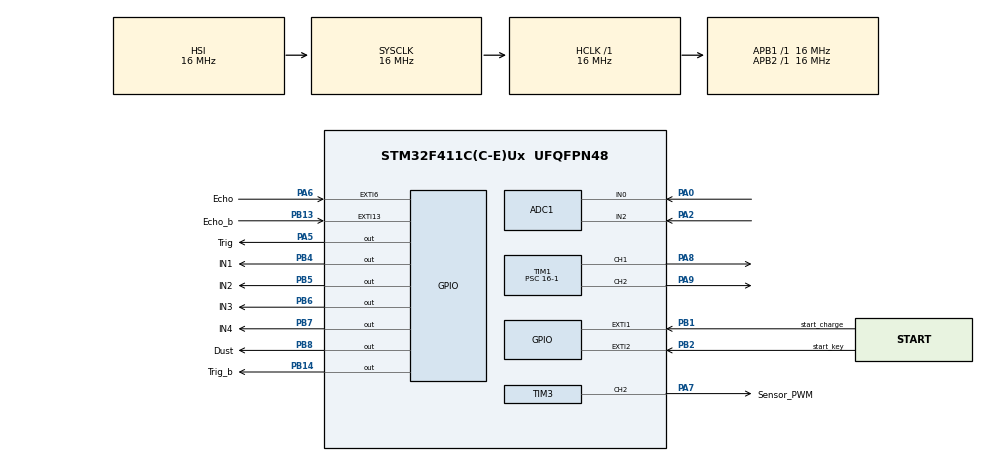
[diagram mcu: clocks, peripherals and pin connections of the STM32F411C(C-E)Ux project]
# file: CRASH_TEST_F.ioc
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ADC1.Channel-1\#ChannelRegularConversion=ADC_CHANNEL_0
ADC1.NbrOfConversionFlag=1
ADC1.Rank-1\#ChannelRegularConversion=1
ADC1.SamplingTime-1\#ChannelRegularConversion=ADC_SAMPLETIME_144CYCLES
ADC1.master=1
Mcu.Family=STM32F4
Mcu.Name=STM32F411C(C-E)Ux
Mcu.Package=UFQFPN48
NVIC.ADC_IRQn=true\:1\:0\:true\:false\:true\:true\:true\:true
NVIC.EXTI15_10_IRQn=true\:0\:0\:false\:false\:true\:true\:true\:true
NVIC.EXTI1_IRQn=true\:0\:0\:false\:false\:true\:true\:true\:true
NVIC.EXTI2_IRQn=true\:0\:0\:false\:false\:true\:true\:true\:true
NVIC.EXTI9_5_IRQn=true\:0\:0\:false\:false\:true\:true\:true\:true
NVIC.PriorityGroup=NVIC_PRIORITYGROUP_4
NVIC.TIM3_IRQn=true\:0\:0\:false\:false\:true\:true\:true\:true
PA0-WKUP.Signal=ADCx_IN0
PA13.Mode=Serial_Wire
PA13.Signal=SYS_JTMS-SWDIO
PA14.Mode=Serial_Wire
PA14.Signal=SYS_JTCK-SWCLK
PA2.Signal=ADCx_IN2
PA5.GPIO_Label=Trig
PA5.Signal=GPIO_Output
PA6.GPIO_Label=Echo
PA6.GPIO_ModeDefaultEXTI=GPIO_MODE_IT_RISING_FALLING
PA6.Signal=GPXTI6
PA7.GPIO_Label=Sensor_PWM
PA7.Signal=S_TIM3_CH2
PA8.Signal=S_TIM1_CH1
PA9.Signal=S_TIM1_CH2
PB1.GPIO_Label=start_charge
PB1.GPIO_ModeDefaultEXTI=GPIO_MODE_IT_FALLING
PB1.GPIO_PuPd=GPIO_NOPULL
PB1.Signal=GPXTI1
PB13.GPIO_Label=Echo_b
PB13.GPIO_ModeDefaultEXTI=GPIO_MODE_IT_RISING_FALLING
PB13.Signal=GPXTI13
PB14.GPIO_Label=Trig_b
PB14.Signal=GPIO_Output
PB2.GPIO_Label=start_key
PB2.GPIO_ModeDefaultEXTI=GPIO_MODE_IT_FALLING
PB2.GPIO_PuPd=GPIO_NOPULL
PB2.Signal=GPXTI2
PB4.GPIO_Label=IN1
PB4.GPIO_PuPd=GPIO_PULLUP
PB4.Signal=GPIO_Output
PB5.GPIO_Label=IN2
PB5.GPIO_PuPd=GPIO_PULLUP
PB5.Signal=GPIO_Output
PB6.GPIO_Label=IN3
PB6.GPIO_PuPd=GPIO_PULLUP
PB6.Signal=GPIO_Output
PB7.GPIO_Label=IN4
PB7.GPIO_PuPd=GPIO_PULLUP
PB7.Signal=GPIO_Output
PB8.GPIO_Label=Dust
PB8.Signal=GPIO_Output
PH0\ -\ OSC_IN.Mode=HSE-External-Oscillator
PH0\ -\ OSC_IN.Signal=RCC_OSC_IN
PH1\ -\ OSC_OUT.Mode=HSE-External-Oscillator
PH1\ -\ OSC_OUT.Signal=RCC_OSC_OUT
ProjectManager.HeapSize=0x200
ProjectManager.StackSize=0x400
ProjectManager.TargetToolchain=STM32CubeIDE
RCC.AHBFreq_Value=16000000
RCC.APB1Freq_Value=16000000
RCC.APB1TimFreq_Value=16000000
RCC.APB2Freq_Value=16000000
RCC.APB2TimFreq_Value=16000000
RCC.CortexFreq_Value=16000000
RCC.HCLKFreq_Value=16000000
RCC.HSE_VALUE=25000000
RCC.HSI_VALUE=16000000
RCC.LSE_VALUE=32768
RCC.SYSCLKFreq_VALUE=16000000
RCC.VCOOutputFreq_Value=192000000
SH.ADCx_IN0.0=ADC1_IN0,IN0
SH.ADCx_IN2.0=ADC1_IN2,IN2
SH.S_TIM1_CH1.0=TIM1_CH1,PWM Generation1 CH1
SH.S_TIM1_CH2.0=TIM1_CH2,PWM Generation2 CH2
SH.S_TIM3_CH2.0=TIM3_CH2,PWM Generation2 CH2
TIM1.Channel-PWM\ Generation1\ CH1=TIM_CHANNEL_1
TIM1.Channel-PWM\ Generation2\ CH2=TIM_CHANNEL_2
TIM1.Period=1000-1
TIM1.Prescaler=16-1
TIM2.Prescaler=16-1
TIM3.Channel-PWM\ Generation2\ CH2=TIM_CHANNEL_2
TIM3.Period=10000-1
TIM3.Prescaler=32-1
VP_TIM1_VS_ClockSourceINT.Mode=Internal
VP_TIM2_VS_ClockSourceINT.Mode=Internal
VP_TIM3_VS_ClockSourceINT.Mode=Internal
board=custom

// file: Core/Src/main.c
/* USER CODE BEGIN Header */
/**
 ******************************************************************************
 * @file           : main.c
 * @brief          : Main program body
 ******************************************************************************
 * @attention
 *
 * Copyright (c) 2025 STMicroelectronics.
 * All rights reserved.
 *
 * This software is licensed under terms that can be found in the LICENSE file
 * in the root directory of this software component.
 * If no LICENSE file comes with this software, it is provided AS-IS.
 *
 ******************************************************************************
 */
/* USER CODE END Header */
#include "main.h"

/* USER CODE BEGIN PD */

//================================================================================
// 1. 시스템 상태 및 제어 플래그 (System State & Control Flags)
// - 로봇의 현재 동작 상태(시작, 정지, 충전 등)를 관리하는 변수들입니다.
//================================================================================
volatile uint8_t  start = 0;         // 자율 주행 시작 플래그 (0: 정지, 1: 시작)
volatile uint8_t  start_charge = 0;  // 자동 충전 시작 플래그 (0: 비활성, 1: 시작)
volatile uint8_t  stop_flag = 0;     // 현재 로봇의 행동을 결정하는 상태 플래그
volatile uint8_t  finsh_crash = 0;   // 장애물 회피 동작이 진행 중인지 나타내는 플래그

//================================================================================
// 2. 모터 및 액추에이터 제어 (Motor & Actuator Control)
// - 바퀴 모터와 서보 모터의 PWM듀티 사이클 값을 저장합니다.
//================================================================================
volatile uint16_t duty_right = 0;   // 오른쪽 바퀴 모터 PWM 듀티
volatile uint16_t duty_left = 0;    // 왼쪽 바퀴 모터 PWM 듀티
volatile uint32_t duty_sensor = 0;  // 초음파 센서용 서보 모터 PWM 듀티

//================================================================================
// 3. 초음파 센서 관련 (Ultrasonic Sensor)
// - HC-SR04 초음파 센서의 트리거, 에코 신호 처리 및 거리 계산에 사용됩니다.
//================================================================================
volatile uint8_t  trig_flag = 0;       // 초음파 발사 요청 플래그
volatile uint8_t  pwm_flag = 0;        // 초음파 측정 및 서보 스캔 제어 플래그
volatile uint8_t  waiting_fall = 0;    // Echo 핀의 Falling Edge를 기다리는 상태 플래그
volatile uint8_t  distance_ready = 0;  // 거리 계산 완료 플래그
volatile float    distance_cm = 0;     // 최종 계산된 거리 값 (cm)

volatile uint8_t  trig_rise = 0;     // Trig 핀의 상태를 관리하는 변수
volatile uint32_t t_rise = 0;        // Echo 핀 Rising Edge 시점의 타이머 값
volatile uint32_t t_fall = 0;        // Echo 핀 Falling Edge 시점의 타이머 값
volatile uint32_t echo_width = 0;    // (t_fall - t_rise) 결과, Echo 펄스 폭
volatile uint32_t trig_start = 0;    // Trig 펄스 시작 시점 타이머 값
volatile uint32_t trig_end = 0;      // Trig 펄스 종료 시점 타이머 값

volatile uint8_t trig_flag_b = 0;
volatile uint8_t waiting_fall_b = 0;
volatile uint8_t distance_ready_b = 0;
volatile float distance_cm_b = 0;

volatile uint8_t trig_rise_b = 0;
volatile uint32_t trig_end_b = 0;
volatile uint32_t trig_start_b = 0;
volatile uint32_t t_rise_b = 0;
volatile uint32_t t_fall_b = 0;
volatile uint32_t echo_width_b = 0;

//================================================================================
// 4. 장애물 회피 및 스캔 (Obstacle Avoidance & Scanning)
// - 장애물 감지 후 주변을 스캔하여 경로를 결정하는 데 사용됩니다.
//================================================================================
volatile uint8_t  scan_step = 0;  // 스캔 동작의 현재 단계를 나타내는 변수
volatile uint16_t scan_L = 0;     // 스캔 시 측정된 왼쪽 거리
volatile uint16_t scan_R = 0;     // 스캔 시 측정된 오른쪽 거리
volatile uint16_t scan_C = 0;     // 스캔 시 측정된 중앙 거리
volatile uint8_t sweep_dir = 0;  // 서보모터 스위핑 방향 (0: 증가, 1: 감소)
volatile uint16_t dist_L = 0;
volatile uint16_t dist_C = 0;
volatile uint16_t dist_R = 0;

//================================================================================
// 5. 먼지 센서 관련 (Dust Sensor)
// - UART 통신으로 먼지 센서 데이터를 수신하고 처리합니다.
//================================================================================
volatile float dust_vol = 0.0f;
volatile float dust_ug = 0.0f;
volatile uint8_t dust_state = 0;
volatile uint32_t dust_start = 0;
volatile uint32_t dust_adc = 0;
volatile uint32_t dust_10msec = 0;
volatile uint8_t dust_flag = 0;

//================================================================================
// 6. 타이머 및 카운터 (Timers & Counters)
// - 시간 기반 동작을 위해 Systick 인터럽트에서 관리됩니다.
//================================================================================
volatile uint16_t sec_count = 0;     // 1초마다 증가하는 카운터
volatile uint16_t pwm_10msec = 0;    // 10ms마다 증가하는 카운터
volatile uint32_t button_block = 0;
volatile uint32_t start_block = 0;
volatile uint32_t charge_block = 0; // 버튼 디바운싱(채터링 방지)을 위한 시간 기록
volatile uint32_t echo_10msec = 0;

//================================================================================
// 7. 자동 충전 관련 변수 (Auto Charging Variables)
//================================================================================
volatile uint32_t ir_10msec = 0;
volatile uint32_t adc_time = 0;
volatile uint32_t best_time = 0;
volatile uint32_t old_adc = 0;
volatile uint32_t new_adc = 0;
volatile uint32_t best_adc = 0;
volatile uint8_t  charge_state = 0;
volatile float vol = 0;
volatile uint8_t docking_count = 0;

//================================================================================
// 8. 디버그 및 기타 변수
//================================================================================
uint32_t count=0;
/* USER CODE END PD */

ADC_HandleTypeDef hadc1;

TIM_HandleTypeDef htim1;
TIM_HandleTypeDef htim2;
TIM_HandleTypeDef htim3;

void SystemClock_Config(void);
static void MX_GPIO_Init(void);
static void MX_TIM1_Init(void);
static void MX_TIM2_Init(void);
static void MX_TIM3_Init(void);
static void MX_ADC1_Init(void);
/* USER CODE BEGIN PFP */
#define DUST_ADC_Channel  ADC_CHANNEL_2    // 먼지 센서 (IN2)
#define IR_ADC_Channel    ADC_CHANNEL_0    // IR 센서 (IN0)

void dust_sensor(void);
/* USER CODE END PFP */

/* USER CODE BEGIN 0 */

void HAL_GPIO_EXTI_Callback(uint16_t GPIO_Pin)
{
	ADC_ChannelConfTypeDef sConfig = {0}; // ADC 설정용 변수

	uint32_t block = HAL_GetTick(); // 버튼 디바운싱 시간 체크

	if (GPIO_Pin == start_key_Pin)
	{
		if(block - start_block < 500) return;
		start_block = block;

		if(start_charge == 1)
		{
			start_charge = 0;
			charge_state = 0;
		}

    start = !start;

    if (start == 1)
    {
		sConfig.Channel = DUST_ADC_Channel;
		sConfig.Rank = 1;
		sConfig.SamplingTime = ADC_SAMPLETIME_144CYCLES;
		HAL_ADC_ConfigChannel(&hadc1, &sConfig);

		trig_flag = 1;
		duty_sensor = 750;
		sec_count = 0;
		stop_flag = 0;
		finsh_crash = 0;
		trig_flag_b = 0;

		charge_state = 0;
		adc_time = 0;
		best_adc = 0;
		best_time = 0;
    }

    else
    {
		duty_left = 0;
		duty_right = 0;
		duty_sensor = 750;

		htim1.Instance->CCR1 = 0;
		htim1.Instance->CCR2 = 0;
		htim3.Instance->CCR2 = duty_sensor;

		stop_flag = 4;
		finsh_crash = 0;
		scan_step = 0;
		trig_flag = 0;
		pwm_flag = 0;
    }
  }

  if (GPIO_Pin == start_charge_Pin)
  {
	  if (block - charge_block < 500) return;
	  charge_block = block;

	  count++;

	  if(start == 1)
	  {
		start = 0;
		stop_flag = 4;
	  }

	  duty_left = 0;
	  duty_right = 0;
	  htim1.Instance->CCR1 = 0;
	  htim1.Instance->CCR2 = 0;

	  start_charge = !start_charge;

	  sConfig.Channel = IR_ADC_Channel;
	  sConfig.Rank = 1;
	  sConfig.SamplingTime = ADC_SAMPLETIME_144CYCLES;
	  HAL_ADC_ConfigChannel(&hadc1, &sConfig);

	  if (start_charge == 1)
	  {
		duty_sensor = 750;
		htim3.Instance->CCR2 = duty_sensor;
		sec_count = 0;
		stop_flag = 6;

		trig_flag = 0;
		pwm_flag = 0;
		waiting_fall = 0;
		trig_rise = 0;
		distance_ready = 0;

	    trig_flag_b = 1;
	    waiting_fall_b = 0;
	    trig_rise_b = 0;
	    distance_ready_b = 0;
	  }

    else
    {
       charge_state = 0;
    }
  }

  if (GPIO_Pin == Echo_Pin)
  {
    if (HAL_GPIO_ReadPin(Echo_GPIO_Port, Echo_Pin) == 1)
    {
      t_rise = TIM2->CNT;
      waiting_fall = 1;
    }

    else
    {
      if (waiting_fall == 1)
      {
        t_fall = TIM2->CNT;

        if (t_fall >= t_rise)
        {
          echo_width = t_fall - t_rise;
        }

        else
        {
          echo_width = (0xFFFFFFFF - t_rise) + t_fall + 1;
        }

        distance_ready = 1;
        waiting_fall = 0;
      }
    }
  }

  if (GPIO_Pin == Echo_b_Pin)
  {
	  if(HAL_GPIO_ReadPin(Echo_b_GPIO_Port, Echo_b_Pin) == 1)
	  {
		  t_rise_b = TIM2->CNT;
		  waiting_fall_b = 1;
	  }

	  else
	  {
		  if (waiting_fall_b == 1)
		  {
			  t_fall_b = TIM2->CNT;

			  if(t_fall_b >= t_rise_b)
			  {
				  echo_width_b = t_fall_b - t_rise_b;
			  }

			  else
			  {
				  echo_width_b = (0xFFFFFFFF - t_rise_b) + t_fall_b + 1;
			  }

			  distance_ready_b = 1;
			  waiting_fall_b = 0;
		  }
	  }
  }
}

void HAL_IncTick(void)
{
  uwTick++;

  if ((uwTick % 10) == 0)
  {
    pwm_10msec++;
    dust_10msec++;
    echo_10msec++;

    if (charge_state == 2) ir_10msec++;

    if (charge_state == 1 || charge_state == 4)
    {
    	HAL_ADC_Start_IT(&hadc1);
    	adc_time++;
    }

    if ((uwTick % 1000) == 0)
    {
		sec_count++;
		dust_flag = 1;
    }
  }
}

void HAL_ADC_ConvCpltCallback(ADC_HandleTypeDef *hadc)
{

  if (hadc->Instance == ADC1)
  {
	  if (start_charge == 1)
	  {
		  old_adc = new_adc;
		  new_adc = HAL_ADC_GetValue(hadc);
		  vol=(3.295*new_adc)/4096;

		  if (new_adc >= old_adc)
		  {
			  if (new_adc > best_adc)
			  {
				  best_adc = new_adc;
				  best_time = adc_time;
			  }
		  }
	  }

	  else
	  {
		  dust_adc = HAL_ADC_GetValue(hadc);
		  dust_vol = (3.295*dust_adc) / 4096;
		  dust_ug = (dust_vol - 0.1)/ 0.005;

		  if(dust_ug < 0) dust_ug = 0;
	  }
  }
}

void dust_sensor(void)
{
    uint32_t now = TIM2->CNT;                        // 현재 타이머 카운터 값
    uint16_t elapsed = (uint16_t)(now - dust_start); // 오버플로 안전한 시간 차이 계산

    if (dust_state == 0)
    {
        dust_10msec = 0;
        dust_state = 1;
        HAL_GPIO_WritePin(Dust_GPIO_Port, Dust_Pin, 0);
        dust_start = now;
    }

    else if (dust_state == 1)
    {
        if (elapsed > 280)
        {
            HAL_ADC_Start_IT(&hadc1);
            dust_state = 2;
        }
    }

    else if (dust_state == 2)
    {

        if (elapsed > 330)
        {
            HAL_GPIO_WritePin(Dust_GPIO_Port, Dust_Pin, 1);
        }

        if (elapsed >= 10000)
        {
            dust_state = 0;
            dust_flag = 0;
        }
    }
}

void trigger(void)
{
  if (trig_flag == 1 && trig_rise == 0)
  {
    HAL_GPIO_WritePin(Trig_GPIO_Port, Trig_Pin, 1);
    trig_start = TIM2->CNT;
    trig_rise = 2;
    trig_flag = 0;
  }

  else if (trig_rise == 2)
  {
    trig_end = TIM2->CNT;

    if ((trig_end - trig_start) >= 10)
    {
      HAL_GPIO_WritePin(Trig_GPIO_Port, Trig_Pin, 0);
      trig_start = TIM2->CNT;
      trig_rise = 1;
    }
  }

  else if (trig_rise == 1)  //응답 없음
  {

	  //1. 60ms 이상
	  if ((TIM2->CNT - trig_start) > 60000)
	  {
		  trig_rise = 0;
		  waiting_fall = 0;
		  pwm_flag = 1;
		  distance_ready = 2;
	  }
  }
}

void trigger_back (void)
{
	if (trig_flag_b == 1 && trig_rise_b == 0)
	  {
	    HAL_GPIO_WritePin(Trig_b_GPIO_Port, Trig_b_Pin, 1);
	    trig_start_b = TIM2->CNT;
	    trig_rise_b = 2;
	    trig_flag_b = 0;
	  }

	  else if (trig_rise_b == 2)
	  {
	    trig_end_b = TIM2->CNT;

	    if ((trig_end_b - trig_start_b) >= 10)
	    {
	      HAL_GPIO_WritePin(Trig_b_GPIO_Port, Trig_b_Pin, 0);
	      trig_start_b = TIM2->CNT;
	      trig_rise_b = 1;
	    }
	  }

	  else if (trig_rise_b == 1)  //응답 없음
	  {

		  //1. 60ms 이상
		  if ((TIM2->CNT - trig_start_b) > 60000)
		  {
			  trig_rise_b = 0;
			  waiting_fall_b = 0;
			  distance_ready_b = 2;
		  }
	  }
}

void crash_PWM(void)
{
  if (stop_flag != 0)
    return;

  if (pwm_flag == 1)
  {
    if (duty_sensor <= 750 + 50 * 8 && sweep_dir == 0)
      duty_sensor += 25;
    if (duty_sensor > 750 + 50 * 8 && sweep_dir == 0)
      sweep_dir = 1;
    if (duty_sensor >= 750 - 50 * 8 && sweep_dir == 1)
      duty_sensor -= 25;
    if (duty_sensor < 750 - 50 * 8 && sweep_dir == 1)
      sweep_dir = 0;
    pwm_flag = 2;
  }

  if (pwm_10msec >= 10 && pwm_flag == 2)
  {
    pwm_flag = 0;
    trig_flag = 1;
  }
}

void scan(void)
{
  duty_right = 0;
  duty_left = 0;
  finsh_crash = 1;

  if (scan_step == 1)
  {
    duty_sensor = 350;
    pwm_10msec = 0;
    pwm_flag = 0;
    scan_step = 2;
  }

  else if (scan_step == 2)
  {
    if (pwm_10msec > 60)
    {
      trig_flag = 1;
      pwm_flag = 0;
      scan_step = 3;
    }
  }

  else if (scan_step == 3)
  {
    if (pwm_flag == 1)
    {
      scan_L = distance_cm;
      duty_sensor = 750;
      pwm_10msec = 0;
      pwm_flag = 0;
      scan_step = 4;
    }
  }

  else if (scan_step == 4)
  {
    if (pwm_10msec > 60)
    {
      trig_flag = 1;
      pwm_flag = 0;
      scan_step = 5;
    }
  }

  else if (scan_step == 5)
  {
    if (pwm_flag == 1)
    {
      scan_C = distance_cm;
      duty_sensor = 1150;
      pwm_10msec = 0;
      pwm_flag = 0;
      scan_step = 6;
    }
  }

  else if (scan_step == 6)
  {
    if (pwm_10msec > 60)
    {
      trig_flag = 1;
      pwm_flag = 0;
      scan_step = 7;
    }
  }

  else if (scan_step == 7)
  {
    if (pwm_flag == 1)
    {
      scan_R = distance_cm;
      duty_sensor = 750;
      pwm_10msec = 0;
      pwm_flag = 0;
      scan_step = 8;
    }
  }

  else if (scan_step == 8)  //저장 해놓은 값 비교해서 가장 큰 쪽으로 구동하도록 함
  {
    sec_count = 0;

    if (scan_L < 10 && scan_C < 10 && scan_R < 10)  //좌 중 우가 모두 20 이하일 때
    {
      stop_flag = 1;  // turn around
    }

    else if (scan_L > scan_C && scan_L > scan_R)  //왼쪽이 제일 클 때
    {
      stop_flag = 2;  // turn left
    }

    else if (scan_R > scan_C && scan_R >= scan_L)  // 오른쪽이 제일 클 때
    {
      stop_flag = 3;  // turn right
    }

    else
    {
      if (scan_L >= scan_R)
      {
        stop_flag = 7;
      }

      else
      {
        stop_flag = 8;
      }
    }

    finsh_crash = 0;
    scan_step = 0;
    pwm_flag = 1;
  }
}

void move_forward(void)
{
  duty_right = 500;
  duty_left = 550;

  HAL_GPIO_WritePin(IN1_GPIO_Port, IN1_Pin, 0);  // IN1 , 4가 1이면 후진
  HAL_GPIO_WritePin(IN2_GPIO_Port, IN2_Pin, 1);  // IN2 , 3이 1이면 전진

  HAL_GPIO_WritePin(IN3_GPIO_Port, IN3_Pin, 1);
  HAL_GPIO_WritePin(IN4_GPIO_Port, IN4_Pin, 0);
}

void move_backward(void)
{
  duty_right = 650;
  duty_left = 600;

  HAL_GPIO_WritePin(IN1_GPIO_Port, IN1_Pin, 1);  // IN1 , 4가 1이면 후진
  HAL_GPIO_WritePin(IN2_GPIO_Port, IN2_Pin, 0);  // IN2 , 3이 1이면 전진

  HAL_GPIO_WritePin(IN3_GPIO_Port, IN3_Pin, 0);
  HAL_GPIO_WritePin(IN4_GPIO_Port, IN4_Pin, 1);
}

void stop(void)
{
  duty_right = 0;
  duty_left = 0;
  finsh_crash = 0;

  HAL_GPIO_WritePin(IN1_GPIO_Port, IN1_Pin, 0);
  HAL_GPIO_WritePin(IN2_GPIO_Port, IN2_Pin, 0);

  HAL_GPIO_WritePin(IN3_GPIO_Port, IN3_Pin, 0);
  HAL_GPIO_WritePin(IN4_GPIO_Port, IN4_Pin, 0);
}

void turn_around(void)
{
  if (sec_count < 2)
  {
    finsh_crash = 1;
    duty_right = 500;
    duty_left = 500;

    HAL_GPIO_WritePin(IN1_GPIO_Port, IN1_Pin, 1);
    HAL_GPIO_WritePin(IN2_GPIO_Port, IN2_Pin, 0);

    HAL_GPIO_WritePin(IN3_GPIO_Port, IN3_Pin, 0);
    HAL_GPIO_WritePin(IN4_GPIO_Port, IN4_Pin, 1);
  }

  else if (sec_count < 8)
  {
    duty_right = 800;
    duty_left = 800;

    HAL_GPIO_WritePin(IN1_GPIO_Port, IN1_Pin, 0);
    HAL_GPIO_WritePin(IN2_GPIO_Port, IN2_Pin, 1);

    HAL_GPIO_WritePin(IN3_GPIO_Port, IN3_Pin, 0);
    HAL_GPIO_WritePin(IN4_GPIO_Port, IN4_Pin, 1);
  }

  else
  {
    sec_count = 0;
    stop_flag = 0;
    finsh_crash = 0;
    scan_step = 0;
    pwm_flag = 1;
  }
}

void turn_right(void)
{
  if (sec_count < 2)
  {
    finsh_crash = 1;

    duty_right = 500;
    duty_left = 500;

    HAL_GPIO_WritePin(IN1_GPIO_Port, IN1_Pin, 1);
    HAL_GPIO_WritePin(IN2_GPIO_Port, IN2_Pin, 0);

    HAL_GPIO_WritePin(IN3_GPIO_Port, IN3_Pin, 0);
    HAL_GPIO_WritePin(IN4_GPIO_Port, IN4_Pin, 1);
  }

  else if (sec_count < 5)
  {
    duty_right = 650;
    duty_left = 650;

    HAL_GPIO_WritePin(IN1_GPIO_Port, IN1_Pin, 1);
    HAL_GPIO_WritePin(IN2_GPIO_Port, IN2_Pin, 0);

    HAL_GPIO_WritePin(IN3_GPIO_Port, IN3_Pin, 1);
    HAL_GPIO_WritePin(IN4_GPIO_Port, IN4_Pin, 0);
  }

  else
  {
    sec_count = 0;
    stop_flag = 0;
    finsh_crash = 0;
    scan_step = 0;
    pwm_flag = 1;
  }
}

void turn_left(void)
{
  if (sec_count < 2)
  {
    finsh_crash = 1;

    duty_right = 500;
    duty_left = 500;

    HAL_GPIO_WritePin(IN1_GPIO_Port, IN1_Pin, 1);
    HAL_GPIO_WritePin(IN2_GPIO_Port, IN2_Pin, 0);

    HAL_GPIO_WritePin(IN3_GPIO_Port, IN3_Pin, 0);
    HAL_GPIO_WritePin(IN4_GPIO_Port, IN4_Pin, 1);
  }

  else if (sec_count < 5)
  {
    duty_right = 650;
    duty_left = 650;

    HAL_GPIO_WritePin(IN1_GPIO_Port, IN1_Pin, 0);
    HAL_GPIO_WritePin(IN2_GPIO_Port, IN2_Pin, 1);

    HAL_GPIO_WritePin(IN3_GPIO_Port, IN3_Pin, 0);
    HAL_GPIO_WritePin(IN4_GPIO_Port, IN4_Pin, 1);
  }
  else
  {
    sec_count = 0;
    stop_flag = 0;
    finsh_crash = 0;
    scan_step = 0;
    pwm_flag = 1;
  }
}

void small_turn_left(void)
{
  if (sec_count < 2)
  {
    finsh_crash = 1;

    duty_right = 500;
    duty_left = 500;

    HAL_GPIO_WritePin(IN1_GPIO_Port, IN1_Pin, 0);
    HAL_GPIO_WritePin(IN2_GPIO_Port, IN2_Pin, 1);

    HAL_GPIO_WritePin(IN3_GPIO_Port, IN3_Pin, 0);
    HAL_GPIO_WritePin(IN4_GPIO_Port, IN4_Pin, 1);
  }

  else
  {
    sec_count = 0;
    stop_flag = 0;
    finsh_crash = 0;
    scan_step = 0;
    pwm_flag = 1;
  }
}

void small_turn_right(void)
{
  if (sec_count < 2)
  {
    duty_right = 500;
    duty_left = 500;

    HAL_GPIO_WritePin(IN1_GPIO_Port, IN1_Pin, 1);
    HAL_GPIO_WritePin(IN2_GPIO_Port, IN2_Pin, 0);

    HAL_GPIO_WritePin(IN3_GPIO_Port, IN3_Pin, 1);
    HAL_GPIO_WritePin(IN4_GPIO_Port, IN4_Pin, 0);
  }

  else
  {
    sec_count = 0;
    stop_flag = 0;
    finsh_crash = 0;
    scan_step = 0;
    pwm_flag = 1;
  }
}

void ir_turn_around(void)
{
  duty_right = 800;
  duty_left = 800;

  HAL_GPIO_WritePin(IN1_GPIO_Port, IN1_Pin, 1);
  HAL_GPIO_WritePin(IN2_GPIO_Port, IN2_Pin, 0);

  HAL_GPIO_WritePin(IN3_GPIO_Port, IN3_Pin, 1);
  HAL_GPIO_WritePin(IN4_GPIO_Port, IN4_Pin, 0);
}

void charge(void)
{
  static uint8_t charge_flag = 0;
  static uint8_t fail_count = 0;

  if (start_charge == 1 && charge_flag == 0)
  {
    charge_state = 0;
    fail_count = 0;
    ir_10msec = 0;
  }

  charge_flag = start_charge;

  if (charge_state == 0)  // 잠시 멈춤
  {
    stop();
    ir_10msec = 0;
   adc_time  = 0;
   best_time = 0;
   old_adc   = 0;
   new_adc   = 0;
   best_adc  = 0;

    if (sec_count >= 2)
    {
      sec_count = 0;
      charge_state = 1;
    }
  }
  else if (charge_state == 1)  //한바퀴 돌면서 ir값 받고, 가장 강했던 초 저장
  {
    ir_turn_around();

    if (sec_count >= 11)  // 한바퀴 돌면서 값이 일정 이상 없었다? 다시
    {
      stop();
      sec_count = 0;

      if (best_adc > 300)
      {
        fail_count = 0;
        ir_10msec = 0;
        charge_state = 2;
      }
      else
      {
        fail_count++;
        sec_count = 0;

        if (fail_count == 1)
        {
           charge_state = 10;
        }

        else if (fail_count == 2)
        {
           charge_state = 11;
        }

        else if (fail_count >= 3)
        {
          start_charge = 0;
          start = 1;
          stop_flag = 0;
          fail_count = 0;
          charge_state = 0;
          trig_flag = 1;
          return;
        }
        else
        {
          charge_state = 0;
          new_adc = 0;
        }
      }
    }
  }

  else if (charge_state == 2)  //가장 강했던 만큼 다시 돌고 방향 잡기
  {
    ir_turn_around();

    if (ir_10msec >= best_time)
    {
      stop();
      sec_count = 0;
      charge_state = 3;
    }
  }

  else if (charge_state == 3)  // n초 후진
  {
    move_backward();

    if (sec_count >= 5)
    {
      stop();
      sec_count = 0;
      charge_state = 4;
    }
  }

  else if (charge_state == 4)  // ir 값이 일정 값 이하라면 다시
  {
    if (best_adc > 3000)
    {
      charge_state = 5;
    }

    else
    {
      charge_state = 0;
    }
    sec_count = 0;
  }

  else if (charge_state == 5)
  {

	  if (distance_cm_b <= 20)
	  {
		  if (docking_count < 255)
		  {
			  docking_count ++;
		  }
	  }

	  else
	  {
		  if(docking_count > 0)
		  {
			  docking_count --;
		  }
	  }

	  if (best_adc > 3000 && docking_count >= 5)
	  {
		  stop();
		  charge_state = 6;
		  docking_count = 0;
		  sec_count = 0;
		  return;
	  }

	  if (sec_count < 5)
	  {
       move_backward();
	  }

	  else
	  {
      stop();
      charge_state = 0;
      sec_count = 0;
	  }
  }

  else if (charge_state == 6)
  {
    stop();
  }

  else if (charge_state == 10)
  {
    move_forward();

    if(sec_count >= 3)
    {
       stop();
       sec_count = 0;
       charge_state = 0;
    }
  }

  else if (charge_state == 11)
  {
     turn_right();

     if(sec_count >= 3)
     {
       sec_count = 0;
       charge_state = 12;
     }
  }

  else if (charge_state == 12)
  {
     move_forward();

     if(sec_count >= 3)
     {
        stop();
        sec_count = 0;
        charge_state = 0;
     }
  }
}

void distance_data(void)
{
	if(start_charge == 0 && finsh_crash == 0)
	{
	    if (dust_ug > 600)
	    {
	    	stop_flag = 4;
	    }

	    else if (dust_ug < 200 && stop_flag == 4)
	    {
	    	stop_flag = 0;
	    }
	}

	if (distance_ready == 1)
	{
		distance_cm = (float) echo_width / 58.0f;

    if (start_charge == 0 && stop_flag != 5 && finsh_crash == 0 && distance_cm < 17 && dust_ug < 200)
    {
      stop_flag = 5;
      scan_step = 1;
      pwm_10msec = 0;
    }

    distance_ready = 0;
  }

  else if (distance_ready == 2)
  {
	  distance_cm = 400;
	  distance_ready = 0;
  }
}

/*void distance_data(void)
{
	if(distance_ready == 1)
	{
		distance_cm = (float) echo_width / 58.0f;

		if(duty_sensor < 600)
		{
			dist_L = distance_cm;

			if (start_charge == 0 && stop_flag != 5 && finsh_crash == 0 && dust_ug < 200)
			{
				if(distance_cm < 20)
				{
					stop_flag = 5;
					scan_step = 1;
					pwm_10msec = 0;
				}
			}
		}

		else if(duty_sensor >= 600 && duty_sensor <= 800)
		{
			dist_C = distance_cm;
			if (start_charge == 0 && stop_flag != 5 && finsh_crash == 0 && dust_ug < 200)
			{
				if(distance_cm < 15)
				{
					stop_flag = 5;
					scan_step = 1;
					pwm_10msec = 0;
				}
			}
		}

		else if(duty_sensor > 800)
		{
			dist_R = distance_cm;

			if (start_charge == 0 && stop_flag != 5 && finsh_crash == 0 && dust_ug < 200)
			{
				if(distance_cm < 20)
				{
					stop_flag = 5;
					scan_step = 1;
					pwm_10msec = 0;
				}
			}
		}
		distance_ready = 0;
	}

	else if (distance_ready == 2)
	{
		if(duty_sensor < 600)
		{
			dist_L = 400;
		}

		else if (duty_sensor > 800)
		{
			dist_R = 400;
		}

		else
		{
			dist_C = 400;
		}

		distance_cm = 400;
		distance_ready = 0;
	}
}*/

void distance_data_back (void)
{
	if (distance_ready_b == 1)
	{
		distance_cm_b = (float) echo_width_b / 58.0f;
	    distance_ready_b = 0;
	    trig_flag_b = 1;
	}
	else if (distance_ready_b == 2)
	{
		distance_cm_b = 400;
		distance_ready_b = 0;
	}
}

/* USER CODE END 0 */

int main(void)
{

  /* MCU Configuration--------------------------------------------------------*/

  /* Reset of all peripherals, Initializes the Flash interface and the Systick. */
   HAL_Init();

  /* Configure the system clock */
  SystemClock_Config();

  /* Initialize all configured peripherals */
  MX_GPIO_Init();
  MX_TIM1_Init();
  MX_TIM2_Init();
  MX_TIM3_Init();
  MX_ADC1_Init();
  /* USER CODE BEGIN 2 */

  HAL_TIM_Base_Start(&htim2);
  HAL_GPIO_WritePin(Trig_GPIO_Port, Trig_Pin, 0);
  HAL_GPIO_WritePin(Trig_b_GPIO_Port, Trig_b_Pin, 0);
  HAL_TIM_PWM_Start(&htim1, TIM_CHANNEL_1);
  htim1.Instance->CCR1 = 0;
  HAL_TIM_PWM_Start(&htim1, TIM_CHANNEL_2);
  htim1.Instance->CCR2 = 0;
  HAL_TIM_PWM_Start(&htim3, TIM_CHANNEL_2);
  htim3.Instance->CCR2 = 0;

  /* USER CODE END 2 */

  /* Infinite loop */
  /* USER CODE BEGIN WHILE */
  while (1)
  {
	  if (waiting_fall == 1)
	  {
	      uint32_t echo_now = TIM2->CNT;
	      if ((echo_now - t_rise) > 30000)
	      {
	          waiting_fall = 0;
	          pwm_flag = 1;
	          distance_ready = 2;
	          trig_rise = 0;
	      }
	  }

	  if (start == 1 && start_charge == 0 && dust_flag == 1)
	  {
		  dust_sensor();
	  }

	  if (start == 1 || start_charge == 1)
	  {
		  htim1.Instance->CCR1 = duty_left;
		  htim1.Instance->CCR2 = duty_right;
		  htim3.Instance->CCR2 = duty_sensor;

		  distance_data();

		  if (start_charge == 0)
		  {
			  crash_PWM();
			  trigger();
		  }

		  if (start_charge == 1)
		  {
			  if(trig_flag_b == 0)
			  {
				  trig_flag_b = 1;
			  }

			  if(echo_10msec % 6 == 0)
			  {
				  trigger_back();
			  }

			  distance_data_back();
		  }

		  if (stop_flag == 0) move_forward();
		  else if (stop_flag == 1) turn_around();
		  else if (stop_flag == 2) turn_left();
		  else if (stop_flag == 3) turn_right();
          else if (stop_flag == 4) stop();
          else if (stop_flag == 5) scan();
          else if (stop_flag == 6) charge();
          else if (stop_flag == 7) small_turn_left();
          else if (stop_flag == 8) small_turn_right();

    }
    /* USER CODE END WHILE */

  }
}

void SystemClock_Config(void)
{
  RCC_OscInitTypeDef RCC_OscInitStruct = {0};
  RCC_ClkInitTypeDef RCC_ClkInitStruct = {0};

  /** Configure the main internal regulator output voltage
  */
  __HAL_RCC_PWR_CLK_ENABLE();
  __HAL_PWR_VOLTAGESCALING_CONFIG(PWR_REGULATOR_VOLTAGE_SCALE1);

  /** Initializes the RCC Oscillators according to the specified parameters
  * in the RCC_OscInitTypeDef structure.
  */
  RCC_OscInitStruct.OscillatorType = RCC_OSCILLATORTYPE_HSI;
  RCC_OscInitStruct.HSIState = RCC_HSI_ON;
  RCC_OscInitStruct.HSICalibrationValue = RCC_HSICALIBRATION_DEFAULT;
  RCC_OscInitStruct.PLL.PLLState = RCC_PLL_NONE;
  if (HAL_RCC_OscConfig(&RCC_OscInitStruct) != HAL_OK)
  {
    Error_Handler();
  }

  /** Initializes the CPU, AHB and APB buses clocks
  */
  RCC_ClkInitStruct.ClockType = RCC_CLOCKTYPE_HCLK|RCC_CLOCKTYPE_SYSCLK
                              |RCC_CLOCKTYPE_PCLK1|RCC_CLOCKTYPE_PCLK2;
  RCC_ClkInitStruct.SYSCLKSource = RCC_SYSCLKSOURCE_HSI;
  RCC_ClkInitStruct.AHBCLKDivider = RCC_SYSCLK_DIV1;
  RCC_ClkInitStruct.APB1CLKDivider = RCC_HCLK_DIV1;
  RCC_ClkInitStruct.APB2CLKDivider = RCC_HCLK_DIV1;

  if (HAL_RCC_ClockConfig(&RCC_ClkInitStruct, FLASH_LATENCY_0) != HAL_OK)
  {
    Error_Handler();
  }
}

static void MX_ADC1_Init(void)
{

  ADC_ChannelConfTypeDef sConfig = {0};

  /** Configure the global features of the ADC (Clock, Resolution, Data Alignment and number of conversion)
  */
  hadc1.Instance = ADC1;
  hadc1.Init.ClockPrescaler = ADC_CLOCK_SYNC_PCLK_DIV2;
  hadc1.Init.Resolution = ADC_RESOLUTION_12B;
  hadc1.Init.ScanConvMode = DISABLE;
  hadc1.Init.ContinuousConvMode = DISABLE;
  hadc1.Init.DiscontinuousConvMode = DISABLE;
  hadc1.Init.ExternalTrigConvEdge = ADC_EXTERNALTRIGCONVEDGE_NONE;
  hadc1.Init.ExternalTrigConv = ADC_SOFTWARE_START;
  hadc1.Init.DataAlign = ADC_DATAALIGN_RIGHT;
  hadc1.Init.NbrOfConversion = 1;
  hadc1.Init.DMAContinuousRequests = DISABLE;
  hadc1.Init.EOCSelection = ADC_EOC_SINGLE_CONV;
  if (HAL_ADC_Init(&hadc1) != HAL_OK)
  {
    Error_Handler();
  }

  /** Configure for the selected ADC regular channel its corresponding rank in the sequencer and its sample time.
  */
  sConfig.Channel = ADC_CHANNEL_0;
  sConfig.Rank = 1;
  sConfig.SamplingTime = ADC_SAMPLETIME_144CYCLES;
  if (HAL_ADC_ConfigChannel(&hadc1, &sConfig) != HAL_OK)
  {
    Error_Handler();
  }

}

static void MX_TIM1_Init(void)
{

  TIM_ClockConfigTypeDef sClockSourceConfig = {0};
  TIM_MasterConfigTypeDef sMasterConfig = {0};
  TIM_OC_InitTypeDef sConfigOC = {0};
  TIM_BreakDeadTimeConfigTypeDef sBreakDeadTimeConfig = {0};

  htim1.Instance = TIM1;
  htim1.Init.Prescaler = 16-1;
  htim1.Init.CounterMode = TIM_COUNTERMODE_UP;
  htim1.Init.Period = 1000-1;
  htim1.Init.ClockDivision = TIM_CLOCKDIVISION_DIV1;
  htim1.Init.RepetitionCounter = 0;
  htim1.Init.AutoReloadPreload = TIM_AUTORELOAD_PRELOAD_DISABLE;
  if (HAL_TIM_Base_Init(&htim1) != HAL_OK)
  {
    Error_Handler();
  }
  sClockSourceConfig.ClockSource = TIM_CLOCKSOURCE_INTERNAL;
  if (HAL_TIM_ConfigClockSource(&htim1, &sClockSourceConfig) != HAL_OK)
  {
    Error_Handler();
  }
  if (HAL_TIM_PWM_Init(&htim1) != HAL_OK)
  {
    Error_Handler();
  }
  sMasterConfig.MasterOutputTrigger = TIM_TRGO_RESET;
  sMasterConfig.MasterSlaveMode = TIM_MASTERSLAVEMODE_DISABLE;
  if (HAL_TIMEx_MasterConfigSynchronization(&htim1, &sMasterConfig) != HAL_OK)
  {
    Error_Handler();
  }
  sConfigOC.OCMode = TIM_OCMODE_PWM1;
  sConfigOC.Pulse = 0;
  sConfigOC.OCPolarity = TIM_OCPOLARITY_HIGH;
  sConfigOC.OCNPolarity = TIM_OCNPOLARITY_HIGH;
  sConfigOC.OCFastMode = TIM_OCFAST_DISABLE;
  sConfigOC.OCIdleState = TIM_OCIDLESTATE_RESET;
  sConfigOC.OCNIdleState = TIM_OCNIDLESTATE_RESET;
  if (HAL_TIM_PWM_ConfigChannel(&htim1, &sConfigOC, TIM_CHANNEL_1) != HAL_OK)
  {
    Error_Handler();
  }
  if (HAL_TIM_PWM_ConfigChannel(&htim1, &sConfigOC, TIM_CHANNEL_2) != HAL_OK)
  {
    Error_Handler();
  }
  sBreakDeadTimeConfig.OffStateRunMode = TIM_OSSR_DISABLE;
  sBreakDeadTimeConfig.OffStateIDLEMode = TIM_OSSI_DISABLE;
  sBreakDeadTimeConfig.LockLevel = TIM_LOCKLEVEL_OFF;
  sBreakDeadTimeConfig.DeadTime = 0;
  sBreakDeadTimeConfig.BreakState = TIM_BREAK_DISABLE;
  sBreakDeadTimeConfig.BreakPolarity = TIM_BREAKPOLARITY_HIGH;
  sBreakDeadTimeConfig.AutomaticOutput = TIM_AUTOMATICOUTPUT_DISABLE;
  if (HAL_TIMEx_ConfigBreakDeadTime(&htim1, &sBreakDeadTimeConfig) != HAL_OK)
  {
    Error_Handler();
  }
  HAL_TIM_MspPostInit(&htim1);

}

static void MX_TIM2_Init(void)
{

  TIM_ClockConfigTypeDef sClockSourceConfig = {0};
  TIM_MasterConfigTypeDef sMasterConfig = {0};

  htim2.Instance = TIM2;
  htim2.Init.Prescaler = 16-1;
  htim2.Init.CounterMode = TIM_COUNTERMODE_UP;
  htim2.Init.Period = 4294967295;
  htim2.Init.ClockDivision = TIM_CLOCKDIVISION_DIV1;
  htim2.Init.AutoReloadPreload = TIM_AUTORELOAD_PRELOAD_DISABLE;
  if (HAL_TIM_Base_Init(&htim2) != HAL_OK)
  {
    Error_Handler();
  }
  sClockSourceConfig.ClockSource = TIM_CLOCKSOURCE_INTERNAL;
  if (HAL_TIM_ConfigClockSource(&htim2, &sClockSourceConfig) != HAL_OK)
  {
    Error_Handler();
  }
  sMasterConfig.MasterOutputTrigger = TIM_TRGO_RESET;
  sMasterConfig.MasterSlaveMode = TIM_MASTERSLAVEMODE_DISABLE;
  if (HAL_TIMEx_MasterConfigSynchronization(&htim2, &sMasterConfig) != HAL_OK)
  {
    Error_Handler();
  }

}

static void MX_TIM3_Init(void)
{

  TIM_ClockConfigTypeDef sClockSourceConfig = {0};
  TIM_MasterConfigTypeDef sMasterConfig = {0};
  TIM_OC_InitTypeDef sConfigOC = {0};

  htim3.Instance = TIM3;
  htim3.Init.Prescaler = 32-1;
  htim3.Init.CounterMode = TIM_COUNTERMODE_UP;
  htim3.Init.Period = 10000-1;
  htim3.Init.ClockDivision = TIM_CLOCKDIVISION_DIV1;
  htim3.Init.AutoReloadPreload = TIM_AUTORELOAD_PRELOAD_DISABLE;
  if (HAL_TIM_Base_Init(&htim3) != HAL_OK)
  {
    Error_Handler();
  }
  sClockSourceConfig.ClockSource = TIM_CLOCKSOURCE_INTERNAL;
  if (HAL_TIM_ConfigClockSource(&htim3, &sClockSourceConfig) != HAL_OK)
  {
    Error_Handler();
  }
  if (HAL_TIM_PWM_Init(&htim3) != HAL_OK)
  {
    Error_Handler();
  }
  sMasterConfig.MasterOutputTrigger = TIM_TRGO_RESET;
  sMasterConfig.MasterSlaveMode = TIM_MASTERSLAVEMODE_DISABLE;
  if (HAL_TIMEx_MasterConfigSynchronization(&htim3, &sMasterConfig) != HAL_OK)
  {
    Error_Handler();
  }
  sConfigOC.OCMode = TIM_OCMODE_PWM1;
  sConfigOC.Pulse = 0;
  sConfigOC.OCPolarity = TIM_OCPOLARITY_HIGH;
  sConfigOC.OCFastMode = TIM_OCFAST_DISABLE;
  if (HAL_TIM_PWM_ConfigChannel(&htim3, &sConfigOC, TIM_CHANNEL_2) != HAL_OK)
  {
    Error_Handler();
  }
  HAL_TIM_MspPostInit(&htim3);

}

static void MX_GPIO_Init(void)
{
  GPIO_InitTypeDef GPIO_InitStruct = {0};

  /* GPIO Ports Clock Enable */
  __HAL_RCC_GPIOH_CLK_ENABLE();
  __HAL_RCC_GPIOA_CLK_ENABLE();
  __HAL_RCC_GPIOB_CLK_ENABLE();

  /*Configure GPIO pin Output Level */
  HAL_GPIO_WritePin(Trig_GPIO_Port, Trig_Pin, GPIO_PIN_RESET);

  /*Configure GPIO pin Output Level */
  HAL_GPIO_WritePin(GPIOB, Trig_b_Pin|IN1_Pin|IN2_Pin|IN3_Pin
                          |IN4_Pin|Dust_Pin, GPIO_PIN_RESET);

  /*Configure GPIO pin : Trig_Pin */
  GPIO_InitStruct.Pin = Trig_Pin;
  GPIO_InitStruct.Mode = GPIO_MODE_OUTPUT_PP;
  GPIO_InitStruct.Pull = GPIO_NOPULL;
  GPIO_InitStruct.Speed = GPIO_SPEED_FREQ_LOW;
  HAL_GPIO_Init(Trig_GPIO_Port, &GPIO_InitStruct);

  /*Configure GPIO pin : Echo_Pin */
  GPIO_InitStruct.Pin = Echo_Pin;
  GPIO_InitStruct.Mode = GPIO_MODE_IT_RISING_FALLING;
  GPIO_InitStruct.Pull = GPIO_NOPULL;
  HAL_GPIO_Init(Echo_GPIO_Port, &GPIO_InitStruct);

  /*Configure GPIO pins : start_charge_Pin start_key_Pin */
  GPIO_InitStruct.Pin = start_charge_Pin|start_key_Pin;
  GPIO_InitStruct.Mode = GPIO_MODE_IT_FALLING;
  GPIO_InitStruct.Pull = GPIO_NOPULL;
  HAL_GPIO_Init(GPIOB, &GPIO_InitStruct);

  /*Configure GPIO pin : Echo_b_Pin */
  GPIO_InitStruct.Pin = Echo_b_Pin;
  GPIO_InitStruct.Mode = GPIO_MODE_IT_RISING_FALLING;
  GPIO_InitStruct.Pull = GPIO_NOPULL;
  HAL_GPIO_Init(Echo_b_GPIO_Port, &GPIO_InitStruct);

  /*Configure GPIO pins : Trig_b_Pin Dust_Pin */
  GPIO_InitStruct.Pin = Trig_b_Pin|Dust_Pin;
  GPIO_InitStruct.Mode = GPIO_MODE_OUTPUT_PP;
  GPIO_InitStruct.Pull = GPIO_NOPULL;
  GPIO_InitStruct.Speed = GPIO_SPEED_FREQ_LOW;
  HAL_GPIO_Init(GPIOB, &GPIO_InitStruct);

  /*Configure GPIO pins : IN1_Pin IN2_Pin IN3_Pin IN4_Pin */
  GPIO_InitStruct.Pin = IN1_Pin|IN2_Pin|IN3_Pin|IN4_Pin;
  GPIO_InitStruct.Mode = GPIO_MODE_OUTPUT_PP;
  GPIO_InitStruct.Pull = GPIO_PULLUP;
  GPIO_InitStruct.Speed = GPIO_SPEED_FREQ_LOW;
  HAL_GPIO_Init(GPIOB, &GPIO_InitStruct);

  /* EXTI interrupt init*/
  HAL_NVIC_SetPriority(EXTI1_IRQn, 0, 0);
  HAL_NVIC_EnableIRQ(EXTI1_IRQn);

  HAL_NVIC_SetPriority(EXTI2_IRQn, 0, 0);
  HAL_NVIC_EnableIRQ(EXTI2_IRQn);

  HAL_NVIC_SetPriority(EXTI9_5_IRQn, 0, 0);
  HAL_NVIC_EnableIRQ(EXTI9_5_IRQn);

  HAL_NVIC_SetPriority(EXTI15_10_IRQn, 0, 0);
  HAL_NVIC_EnableIRQ(EXTI15_10_IRQn);

}

void Error_Handler(void)
{
  __disable_irq();
  while (1) {
  }
}
